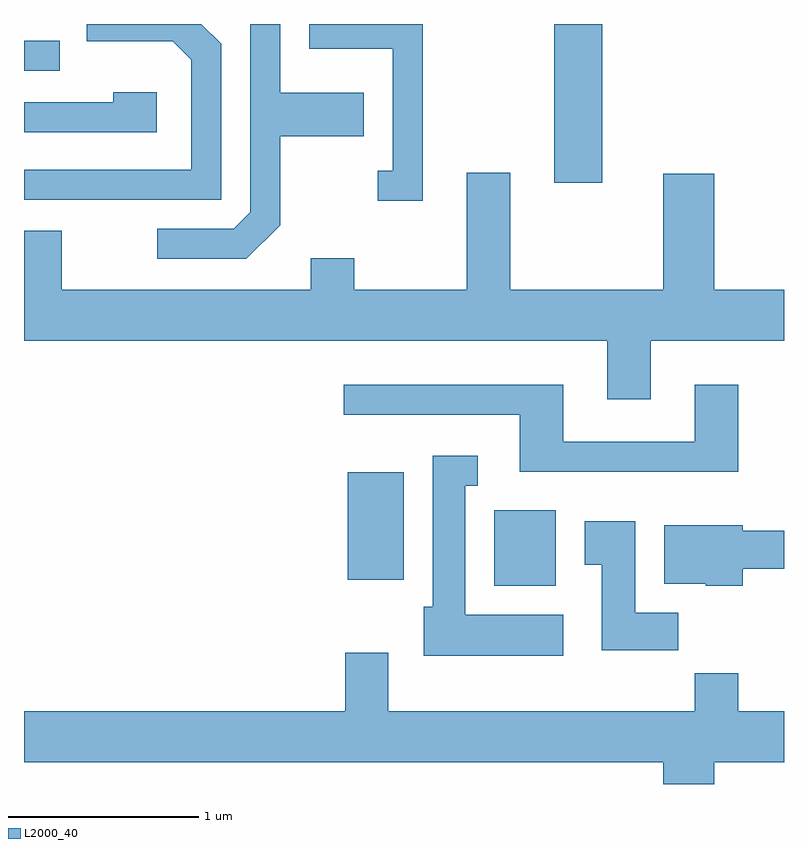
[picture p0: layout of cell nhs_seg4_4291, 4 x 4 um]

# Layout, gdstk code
import gdstk
lib = gdstk.Library(unit=1e-6, precision=1e-09)
def R(c, l, rs):  # rectangles x0, y0, x1, y1
    for r in rs: c.add(gdstk.rectangle(r[:2], r[2:], *l))
def P(c, l, *ps):  # polygons
    for p in ps: c.add(gdstk.Polygon(p, *l))
L2000_40 = (2000, 40)

nhs_seg4_4291 = lib.new_cell('nhs_seg4_4291')
R(nhs_seg4_4291, L2000_40, [(314.086,1269.026,314.409,1269.424), (313.316,1269.056,313.609,1269.624), (314.401,1271.146,314.654,1271.982), (311.611,1271.736,311.798,1271.894)])
P(nhs_seg4_4291, L2000_40, [(313.709,1271.982),(313.111,1271.982),(313.111,1271.851),(313.551,1271.851),(313.551,1271.209),(313.473,1271.209),(313.473,1271.051),(313.709,1271.051)],
  [(312.959,1270.924),(312.959,1271.391),(313.399,1271.391),(313.399,1271.619),(312.959,1271.619),(312.959,1271.982),(312.801,1271.982),(312.801,1270.992),(312.714,1270.904),(312.313,1270.904),(312.313,1270.746),(312.782,1270.746)],
  [(312.649,1271.877),(312.544,1271.982),(311.941,1271.982),(311.941,1271.891),(312.394,1271.891),(312.491,1271.794),(312.491,1271.214),(311.611,1271.214),(311.611,1271.056),(312.649,1271.056)],
  [(312.309,1271.624),(312.081,1271.624),(312.081,1271.569),(311.611,1271.569),(311.611,1271.411),(312.309,1271.411)],
  [(314.909,1270.316),(315.611,1270.316),(315.611,1270.584),(315.244,1270.584),(315.244,1271.194),(314.976,1271.194),(314.976,1270.584),(314.169,1270.584),(314.169,1271.199),(313.941,1271.199),(313.941,1270.584),(313.349,1270.584),(313.349,1270.749),(313.121,1270.749),(313.121,1270.584),(311.809,1270.584),(311.809,1270.894),(311.611,1270.894),(311.611,1270.316),(314.681,1270.316),(314.681,1270.006),(314.909,1270.006)],
  [(315.369,1270.084),(315.141,1270.084),(315.141,1269.784),(314.449,1269.784),(314.449,1270.084),(313.293,1270.084),(313.293,1269.926),(314.221,1269.926),(314.221,1269.626),(315.369,1269.626)],
  [(314.449,1268.874),(313.934,1268.874),(313.934,1269.551),(313.998,1269.551),(313.998,1269.709),(313.761,1269.709),(313.761,1268.914),(313.716,1268.914),(313.716,1268.656),(314.449,1268.656)],
  [(315.054,1268.884),(314.829,1268.884),(314.829,1269.364),(314.561,1269.364),(314.561,1269.136),(314.651,1269.136),(314.651,1268.686),(315.054,1268.686)],
  [(315.394,1269.116),(315.611,1269.116),(315.611,1269.314),(315.394,1269.314),(315.394,1269.344),(314.981,1269.344),(314.981,1269.036),(315.2,1269.036),(315.2,1269.026),(315.394,1269.026)],
  [(315.244,1268.096),(315.611,1268.096),(315.611,1268.364),(315.369,1268.364),(315.369,1268.564),(315.141,1268.564),(315.141,1268.364),(313.529,1268.364),(313.529,1268.674),(313.301,1268.674),(313.301,1268.364),(311.611,1268.364),(311.611,1268.096),(314.976,1268.096),(314.976,1267.982),(315.244,1267.982)])

lib.write_gds('nhs_seg4_4291.gds')
